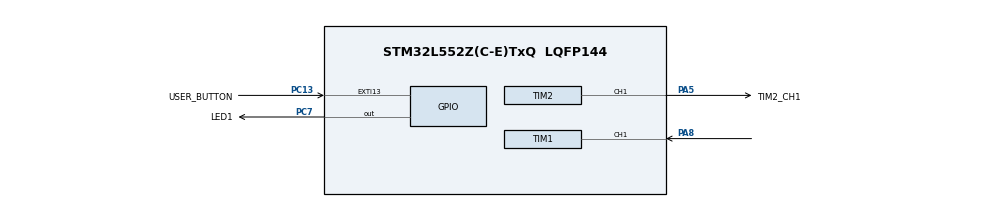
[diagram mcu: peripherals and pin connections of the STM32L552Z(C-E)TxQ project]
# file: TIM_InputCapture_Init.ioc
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Mcu.Family=STM32L5
Mcu.Name=STM32L552Z(C-E)TxQ
Mcu.Package=LQFP144
Mcu.TrustZone=disable
NVIC.EXTI13_IRQn=true\:0\:0\:false\:false\:true\:true\:true\:true
NVIC.PriorityGroup=NVIC_PRIORITYGROUP_3
NVIC.TIM1_CC_IRQn=true\:0\:0\:false\:false\:true\:true\:true\:true
PA5.GPIO_Label=TIM2_CH1
PA5.Signal=S_TIM2_CH1
PA8.Signal=S_TIM1_CH1
PC13.GPIO_Label=USER_BUTTON
PC13.GPIO_ModeDefaultEXTI=GPIO_MODE_IT_FALLING
PC13.GPIO_PuPd=GPIO_PULLDOWN
PC13.Signal=GPXTI13
PC7.GPIO_Label=LED1
PC7.Signal=GPIO_Output
ProjectManager.HeapSize=0x200
ProjectManager.StackSize=0x400
ProjectManager.TargetToolchain=EWARM V8.32
RCC.ADCCLockSelection=RCC_ADCCLKSOURCE_SYSCLK
RCC.ADCFreq_Value=110000000
RCC.AHBFreq_Value=110000000
RCC.APB1Freq_Value=110000000
RCC.APB1TimFreq_Value=110000000
RCC.APB2Freq_Value=110000000
RCC.APB2TimFreq_Value=110000000
RCC.CortexFreq_Value=110000000
RCC.HCLKFreq_Value=110000000
RCC.HSE_VALUE=16000000
RCC.HSI48_VALUE=48000000
RCC.HSI_VALUE=16000000
RCC.LSE_VALUE=32768
RCC.MSI_VALUE=4000000
RCC.PLLN=55
RCC.PLLSAI1N=24
RCC.RTCClockSelection=RCC_RTCCLKSOURCE_LSE
RCC.SYSCLKFreq_VALUE=110000000
RCC.SYSCLKSource=RCC_SYSCLKSOURCE_PLLCLK
RCC.USBFreq_Value=48000000
RCC.VCOOutputFreq_Value=220000000
SH.S_TIM1_CH1.0=TIM1_CH1,Input_Capture1_from_TI1
SH.S_TIM2_CH1.0=TIM2_CH1,PWM Generation1 CH1
TIM1.AutoReloadPreload=TIM_AUTORELOAD_PRELOAD_DISABLE
TIM1.Channel-Input_Capture1_from_TI1=TIM_CHANNEL_1
TIM1.ClockDivision=TIM_CLOCKDIVISION_DIV1
TIM1.CounterMode=TIM_COUNTERMODE_UP
TIM1.ICFilter_CH1=0
TIM1.ICPolarity_CH1=TIM_INPUTCHANNELPOLARITY_RISING
TIM1.ICPrescaler-Input_Capture1_from_TI1=TIM_ICPSC_DIV1
TIM1.ICSelection-Input_Capture1_from_TI1=TIM_ICSELECTION_DIRECTTI
TIM1.Period=0xFFFF
TIM1.Prescaler=0
TIM1.RepetitionCounter=0
TIM1.TIM_MasterOutputTrigger=TIM_TRGO_RESET
TIM1.TIM_MasterOutputTrigger2=TIM_TRGO2_RESET
TIM1.TIM_MasterSlaveMode=TIM_MASTERSLAVEMODE_DISABLE
TIM2.AutoReloadPreload=TIM_AUTORELOAD_PRELOAD_ENABLE
TIM2.Channel-PWM\ Generation1\ CH1=TIM_CHANNEL_1
TIM2.ClearInputSource=TIM_CLEARINPUTSOURCE_NONE
TIM2.ClockDivision=TIM_CLOCKDIVISION_DIV1
TIM2.CounterMode=TIM_COUNTERMODE_UP
TIM2.OC1Preload_PWM=ENABLE
TIM2.OCFastMode_PWM-PWM\ Generation1\ CH1=TIM_OCFAST_DISABLE
TIM2.OCMode_PWM-PWM\ Generation1\ CH1=TIM_OCMODE_PWM1
TIM2.OCPolarity_1=TIM_OCPOLARITY_HIGH
TIM2.Period=tim_period
TIM2.Prescaler=0
TIM2.Pulse-PWM\ Generation1\ CH1=tim_pulse_value
TIM2.TIM_MasterOutputTrigger=TIM_TRGO_RESET
TIM2.TIM_MasterSlaveMode=TIM_MASTERSLAVEMODE_DISABLE
VP_ICACHE_VS_ICACHE.Mode=DirectMappedCache
VP_PWR_VS_DBSignals.Mode=DisableDeadBatterySignals
board=custom

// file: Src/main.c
/* USER CODE BEGIN Header */
/**
  ******************************************************************************
  * @file    Examples_LL/TIM/TIM_InputCapture_Init/Src/main.c
  * @author  MCD Application Team
  * @brief   This example describes how to use a timer instance in input
  *          capture mode using the STM32L5xx TIM LL API.
  *          Peripheral initialization done using LL unitary services functions.
  ******************************************************************************
  * @attention
  *
  * Copyright (c) 2019 STMicroelectronics.
  * All rights reserved.
  *
  * This software is licensed under terms that can be found in the LICENSE file
  * in the root directory of this software component.
  * If no LICENSE file comes with this software, it is provided AS-IS.
  *
  ******************************************************************************
  */
/* USER CODE END Header */
#include "main.h"

/* USER CODE BEGIN PD */
/* Number of frequencies */
#define TIM_FREQUENCIES_NB 10
/* USER CODE END PD */

/* USER CODE BEGIN PV */
/* Frequency table */
static uint32_t aFrequency[TIM_FREQUENCIES_NB] = {
  2000,   /*  2 kHz */
  4000,   /*  4 kHz */
  6000,   /*  6 kHz */
  8000,   /*  8 kHz */
  10000,  /* 10 kHz */
  12000,  /* 12 kHz */
  14000,  /* 14 kHz */
  16000,  /* 16 kHz */
  18000,  /* 18 kHz */
  20000,  /* 20 kHz */
};

/* Frequency index */
static uint8_t iFrequency = 0;

/* Measured frequency */
__IO uint32_t uwMeasuredFrequency = 0;

/* TIM2 Clock */
static uint32_t TimOutClock = 1;
static uint32_t tim_period = 0;
static uint32_t tim_pulse_value = 0;

/* USER CODE END PV */

void SystemClock_Config(void);
static void MX_GPIO_Init(void);
static void MX_ICACHE_Init(void);
static void MX_TIM1_Init(void);
static void MX_TIM2_Init(void);
/* USER CODE BEGIN PFP */
__STATIC_INLINE void Configure_Frequency(uint32_t Frequency);
__STATIC_INLINE void LED_Blinking(uint32_t Period);
/* USER CODE END PFP */

int main(void)
{

  /* MCU Configuration--------------------------------------------------------*/

  /* Reset of all peripherals, Initializes the Flash interface and the Systick. */
  LL_APB2_GRP1_EnableClock(LL_APB2_GRP1_PERIPH_SYSCFG);
  LL_APB1_GRP1_EnableClock(LL_APB1_GRP1_PERIPH_PWR);

  /* System interrupt init*/
  NVIC_SetPriorityGrouping(NVIC_PRIORITYGROUP_3);

  /** Disable the internal Pull-Up in Dead Battery pins of UCPD peripheral
  */
  LL_PWR_DisableUCPDDeadBattery();

  /* Configure the system clock */
  SystemClock_Config();

  /* USER CODE BEGIN SysInit */

  /* Set the auto-reload value to have a counter frequency of 2 kHz           */
  /* TIM2CLK = SystemCoreClock / (APB prescaler & multiplier)                 */
  TimOutClock = SystemCoreClock/(2/2);
  /* TIM2 counter frequency = TimOutClock / (ARR + 1)                   */
  tim_period = __LL_TIM_CALC_ARR(TimOutClock, 0, aFrequency[0]);

  /* Set compare value to half of the counter period (50% duty cycle )*/
  tim_pulse_value = tim_period / 2;

  /* USER CODE END SysInit */

  /* Initialize all configured peripherals */
  MX_GPIO_Init();
  MX_ICACHE_Init();
  MX_TIM1_Init();
  MX_TIM2_Init();
  /* USER CODE BEGIN 2 */

  /**************************/
  /* TIM1 interrupts set-up */
  /**************************/
  /* Enable the capture/compare interrupt for channel 1 */
  LL_TIM_EnableIT_CC1(TIM1);

  /***********************/
  /* Start input capture */
  /***********************/
  /* Enable input channel 1 */
  LL_TIM_CC_EnableChannel(TIM1, LL_TIM_CHANNEL_CH1);

  /* Enable counter */
  LL_TIM_EnableCounter(TIM1);

  /* Enable TIM2_CCR1 register preload. Read/Write operations access the      */
  /* preload register. TIM2_CCR1 preload value is loaded in the active        */
  /* at each update event.                                                    */
  LL_TIM_OC_EnablePreload(TIM2, LL_TIM_CHANNEL_CH1);

  /**********************************/
  /* Start output signal generation */
  /**********************************/
  /* Enable output channel 1 */
  LL_TIM_CC_EnableChannel(TIM2, LL_TIM_CHANNEL_CH1);

  /* Enable counter */
  LL_TIM_EnableCounter(TIM2);

  /* USER CODE END 2 */

  /* Infinite loop */
  while (1)
  {

  }
}

void SystemClock_Config(void)
{
  LL_FLASH_SetLatency(LL_FLASH_LATENCY_5);
  while(LL_FLASH_GetLatency()!= LL_FLASH_LATENCY_5)
  {
  }

  LL_PWR_SetRegulVoltageScaling(LL_PWR_REGU_VOLTAGE_SCALE0);
  LL_RCC_MSI_Enable();

   /* Wait till MSI is ready */
  while(LL_RCC_MSI_IsReady() != 1)
  {
  }

  LL_RCC_MSI_EnableRangeSelection();
  LL_RCC_MSI_SetRange(LL_RCC_MSIRANGE_6);
  LL_RCC_MSI_SetCalibTrimming(0);
  LL_RCC_PLL_ConfigDomain_SYS(LL_RCC_PLLSOURCE_MSI, LL_RCC_PLLM_DIV_1, 55, LL_RCC_PLLR_DIV_2);
  LL_RCC_PLL_EnableDomain_SYS();
  LL_RCC_PLL_Enable();

   /* Wait till PLL is ready */
  while(LL_RCC_PLL_IsReady() != 1)
  {
  }

   /* Intermediate AHB prescaler 2 when target frequency clock is higher than 80 MHz */
   LL_RCC_SetAHBPrescaler(LL_RCC_SYSCLK_DIV_2);

  LL_RCC_SetSysClkSource(LL_RCC_SYS_CLKSOURCE_PLL);

   /* Wait till System clock is ready */
  while(LL_RCC_GetSysClkSource() != LL_RCC_SYS_CLKSOURCE_STATUS_PLL)
  {
  }

  /* Insure 1us transition state at intermediate medium speed clock*/
  for (__IO uint32_t i = (RCC_MAX_FREQUENCY_MHZ >> 1); i !=0; i--);

  LL_RCC_SetAHBPrescaler(LL_RCC_SYSCLK_DIV_1);
  LL_RCC_SetAPB1Prescaler(LL_RCC_APB1_DIV_1);
  LL_RCC_SetAPB2Prescaler(LL_RCC_APB2_DIV_1);

  LL_Init1msTick(110000000);

  LL_SetSystemCoreClock(110000000);
}

static void MX_ICACHE_Init(void)
{

  /** Enable instruction cache in 1-way (direct mapped cache)
  */
  LL_ICACHE_SetMode(LL_ICACHE_1WAY);
  LL_ICACHE_Enable();

}

static void MX_TIM1_Init(void)
{

  LL_TIM_InitTypeDef TIM_InitStruct = {0};

  LL_GPIO_InitTypeDef GPIO_InitStruct = {0};

  /* Peripheral clock enable */
  LL_APB2_GRP1_EnableClock(LL_APB2_GRP1_PERIPH_TIM1);

  LL_AHB2_GRP1_EnableClock(LL_AHB2_GRP1_PERIPH_GPIOA);
  /**TIM1 GPIO Configuration
  PA8   ------> TIM1_CH1
  */
  GPIO_InitStruct.Pin = LL_GPIO_PIN_8;
  GPIO_InitStruct.Mode = LL_GPIO_MODE_ALTERNATE;
  GPIO_InitStruct.Speed = LL_GPIO_SPEED_FREQ_LOW;
  GPIO_InitStruct.OutputType = LL_GPIO_OUTPUT_PUSHPULL;
  GPIO_InitStruct.Pull = LL_GPIO_PULL_NO;
  GPIO_InitStruct.Alternate = LL_GPIO_AF_1;
  LL_GPIO_Init(GPIOA, &GPIO_InitStruct);

  /* TIM1 interrupt Init */
  NVIC_SetPriority(TIM1_CC_IRQn, NVIC_EncodePriority(NVIC_GetPriorityGrouping(),0, 0));
  NVIC_EnableIRQ(TIM1_CC_IRQn);

  TIM_InitStruct.Prescaler = 0;
  TIM_InitStruct.CounterMode = LL_TIM_COUNTERMODE_UP;
  TIM_InitStruct.Autoreload = 0xFFFF;
  TIM_InitStruct.ClockDivision = LL_TIM_CLOCKDIVISION_DIV1;
  TIM_InitStruct.RepetitionCounter = 0;
  LL_TIM_Init(TIM1, &TIM_InitStruct);
  LL_TIM_DisableARRPreload(TIM1);
  LL_TIM_SetTriggerOutput(TIM1, LL_TIM_TRGO_RESET);
  LL_TIM_SetTriggerOutput2(TIM1, LL_TIM_TRGO2_RESET);
  LL_TIM_DisableMasterSlaveMode(TIM1);
  LL_TIM_IC_SetActiveInput(TIM1, LL_TIM_CHANNEL_CH1, LL_TIM_ACTIVEINPUT_DIRECTTI);
  LL_TIM_IC_SetPrescaler(TIM1, LL_TIM_CHANNEL_CH1, LL_TIM_ICPSC_DIV1);
  LL_TIM_IC_SetFilter(TIM1, LL_TIM_CHANNEL_CH1, LL_TIM_IC_FILTER_FDIV1);
  LL_TIM_IC_SetPolarity(TIM1, LL_TIM_CHANNEL_CH1, LL_TIM_IC_POLARITY_RISING);

}

static void MX_TIM2_Init(void)
{

  LL_TIM_InitTypeDef TIM_InitStruct = {0};
  LL_TIM_OC_InitTypeDef TIM_OC_InitStruct = {0};

  LL_GPIO_InitTypeDef GPIO_InitStruct = {0};

  /* Peripheral clock enable */
  LL_APB1_GRP1_EnableClock(LL_APB1_GRP1_PERIPH_TIM2);

  TIM_InitStruct.Prescaler = 0;
  TIM_InitStruct.CounterMode = LL_TIM_COUNTERMODE_UP;
  TIM_InitStruct.Autoreload = tim_period;
  TIM_InitStruct.ClockDivision = LL_TIM_CLOCKDIVISION_DIV1;
  LL_TIM_Init(TIM2, &TIM_InitStruct);
  LL_TIM_EnableARRPreload(TIM2);
  LL_TIM_OC_EnablePreload(TIM2, LL_TIM_CHANNEL_CH1);
  TIM_OC_InitStruct.OCMode = LL_TIM_OCMODE_PWM1;
  TIM_OC_InitStruct.OCState = LL_TIM_OCSTATE_DISABLE;
  TIM_OC_InitStruct.OCNState = LL_TIM_OCSTATE_DISABLE;
  TIM_OC_InitStruct.CompareValue = tim_pulse_value;
  TIM_OC_InitStruct.OCPolarity = LL_TIM_OCPOLARITY_HIGH;
  LL_TIM_OC_Init(TIM2, LL_TIM_CHANNEL_CH1, &TIM_OC_InitStruct);
  LL_TIM_OC_DisableFast(TIM2, LL_TIM_CHANNEL_CH1);
  LL_TIM_SetTriggerOutput(TIM2, LL_TIM_TRGO_RESET);
  LL_TIM_DisableMasterSlaveMode(TIM2);
  LL_AHB2_GRP1_EnableClock(LL_AHB2_GRP1_PERIPH_GPIOA);
  /**TIM2 GPIO Configuration
  PA5   ------> TIM2_CH1
  */
  GPIO_InitStruct.Pin = TIM2_CH1_Pin;
  GPIO_InitStruct.Mode = LL_GPIO_MODE_ALTERNATE;
  GPIO_InitStruct.Speed = LL_GPIO_SPEED_FREQ_LOW;
  GPIO_InitStruct.OutputType = LL_GPIO_OUTPUT_PUSHPULL;
  GPIO_InitStruct.Pull = LL_GPIO_PULL_NO;
  GPIO_InitStruct.Alternate = LL_GPIO_AF_1;
  LL_GPIO_Init(TIM2_CH1_GPIO_Port, &GPIO_InitStruct);

}

static void MX_GPIO_Init(void)
{
  LL_EXTI_InitTypeDef EXTI_InitStruct = {0};
  LL_GPIO_InitTypeDef GPIO_InitStruct = {0};

  /* GPIO Ports Clock Enable */
  LL_AHB2_GRP1_EnableClock(LL_AHB2_GRP1_PERIPH_GPIOC);
  LL_AHB2_GRP1_EnableClock(LL_AHB2_GRP1_PERIPH_GPIOA);

  /**/
  LL_GPIO_ResetOutputPin(LED1_GPIO_Port, LED1_Pin);

  /**/
  LL_EXTI_SetEXTISource(LL_EXTI_EXTI_PORTC, LL_EXTI_EXTI_LINE13);

  /**/
  EXTI_InitStruct.Line_0_31 = LL_EXTI_LINE_13;
  EXTI_InitStruct.Line_32_63 = LL_EXTI_LINE_NONE;
  EXTI_InitStruct.LineCommand = ENABLE;
  EXTI_InitStruct.Mode = LL_EXTI_MODE_IT;
  EXTI_InitStruct.Trigger = LL_EXTI_TRIGGER_FALLING;
  LL_EXTI_Init(&EXTI_InitStruct);

  /**/
  LL_GPIO_SetPinPull(USER_BUTTON_GPIO_Port, USER_BUTTON_Pin, LL_GPIO_PULL_DOWN);

  /**/
  LL_GPIO_SetPinMode(USER_BUTTON_GPIO_Port, USER_BUTTON_Pin, LL_GPIO_MODE_INPUT);

  /**/
  GPIO_InitStruct.Pin = LED1_Pin;
  GPIO_InitStruct.Mode = LL_GPIO_MODE_OUTPUT;
  GPIO_InitStruct.Speed = LL_GPIO_SPEED_FREQ_LOW;
  GPIO_InitStruct.OutputType = LL_GPIO_OUTPUT_PUSHPULL;
  GPIO_InitStruct.Pull = LL_GPIO_PULL_NO;
  LL_GPIO_Init(LED1_GPIO_Port, &GPIO_InitStruct);

  /* EXTI interrupt init*/
  NVIC_SetPriority(EXTI13_IRQn, NVIC_EncodePriority(NVIC_GetPriorityGrouping(),0, 0));
  NVIC_EnableIRQ(EXTI13_IRQn);

}

/* USER CODE BEGIN 4 */

/**
  * @brief  Changes the frequency of the PWM signal.
  * @note this function is executed within the CC1 interrupt service
  *       routine context.
  * @param  Requested frequency
  * @retval None
  */
__STATIC_INLINE void Configure_Frequency(uint32_t Frequency)
{
  /* Set the auto-reload value to have the requested frequency */
  /* Frequency = TIM2CLK / (ARR + 1)                   */
  LL_TIM_SetAutoReload(TIM2, __LL_TIM_CALC_ARR(TimOutClock, LL_TIM_GetPrescaler(TIM2), Frequency));

  /* Set compare value to half of the counter period (50% duty cycle )*/
  LL_TIM_OC_SetCompareCH1(TIM2, (LL_TIM_GetAutoReload(TIM2) / 2));
}

/**
  * @brief  Set LED1 to Blinking mode for an infinite loop (toggle period based on value provided as input parameter).
  * @param  Period : Period of time (in ms) between each toggling of LED
  *   This parameter can be user defined values. Pre-defined values used in that example are :
  *     @arg LED_BLINK_FAST : Fast Blinking
  *     @arg LED_BLINK_SLOW : Slow Blinking
  *     @arg LED_BLINK_ERROR : Error specific Blinking
  * @retval None
  */
__STATIC_INLINE void LED_Blinking(uint32_t Period)
{
  /* Toggle IO in an infinite loop */
  while (1)
  {
    LL_GPIO_TogglePin(LED1_GPIO_Port, LED1_Pin);
    LL_mDelay(Period);
  }
}

/******************************************************************************/
/*   USER IRQ HANDLER TREATMENT                                               */
/******************************************************************************/
/**
  * @brief  User button interrupt processing
  * @note   When the user key button is pressed the frequency of the
  *         PWM signal generated by TIM2 is updated.
  * @param  None
  * @retval None
  */
void UserButton_Callback(void)
{
  /* Set new PWM signal frequency */
  iFrequency = (iFrequency + 1) % TIM_FREQUENCIES_NB;

  /* Change PWM signal frequency */
  Configure_Frequency(aFrequency[iFrequency]);
}

/**
  * @brief  Timer capture/compare interrupt processing
  * @note TIM1 input capture module is used to capture the value of the counter
  *       after a transition is detected by the corresponding input channel.
  * @param  None
  * @retval None
  */
void TimerCaptureCompare_Callback(void)
{
  /* Capture index */
  static uint16_t uhCaptureIndex = 0;

  /* Captured Values */
  static uint32_t uwICValue1 = 0;
  static uint32_t uwICValue2 = 0;
  static uint32_t uwDiffCapture = 0;

  uint32_t TIM1CLK;
  uint32_t PSC;
  uint32_t IC1PSC;
  uint32_t IC1Polarity;

  if(uhCaptureIndex == 0)
  {
    /* Get the 1st Input Capture value */
    uwICValue1 = LL_TIM_IC_GetCaptureCH1(TIM1);
    uhCaptureIndex = 1;
  }
  else if(uhCaptureIndex == 1)
  {
    /* Get the 2nd Input Capture value */
    uwICValue2 = LL_TIM_IC_GetCaptureCH1(TIM1);

    /* Capture computation */
    if (uwICValue2 > uwICValue1)
    {
      uwDiffCapture = (uwICValue2 - uwICValue1);
    }
    else if (uwICValue2 < uwICValue1)
    {
      uwDiffCapture = ((TIM1_ARR_MAX - uwICValue1) + uwICValue2) + 1;
    }
    else
    {
      /* If capture values are equal, we have reached the limit of frequency  */
      /* measures.                                                            */
      LED_Blinking(LED_BLINK_ERROR);
    }

    /* The signal frequency is calculated as follows:                         */
    /* Frequency = (TIM1*IC1PSC) / (Capture*(PSC+1)*IC1Polarity)           */
    /* where:                                                                 */
    /*  Capture is the difference between two consecutive captures            */
    /*  TIM1CLK is the timer counter clock frequency                           */
    /*  PSC is the timer prescaler value                                      */
    /*  IC1PSC is the input capture prescaler value                           */
    /*  IC1Polarity value depends on the capture sensitivity:                 */
    /*    1 if the input is sensitive to rising or falling edges              */
    /*    2 if the input is sensitive to both rising and falling edges        */

    /* Retrieve actual TIM1 counter clock frequency */
    TIM1CLK = SystemCoreClock;

    /* Retrieve actual TIM1 prescaler value */
    PSC = LL_TIM_GetPrescaler(TIM1);

    /* Retrieve actual IC1 prescaler ratio */
    IC1PSC = __LL_TIM_GET_ICPSC_RATIO(LL_TIM_IC_GetPrescaler(TIM1, LL_TIM_CHANNEL_CH1));

    /* Retrieve actual IC1 polarity setting */
    if (LL_TIM_IC_GetPolarity(TIM1, LL_TIM_CHANNEL_CH1) == LL_TIM_IC_POLARITY_BOTHEDGE)
      IC1Polarity = 2;
    else
      IC1Polarity = 1;

    /* Calculate input signal frequency */
    uwMeasuredFrequency = (TIM1CLK *IC1PSC) / (uwDiffCapture*(PSC+1)*IC1Polarity);

    /* reset capture index */
    uhCaptureIndex = 0;
  }
}

/* USER CODE END 4 */

void Error_Handler(void)
{
  while(1)
  {
  }
}
